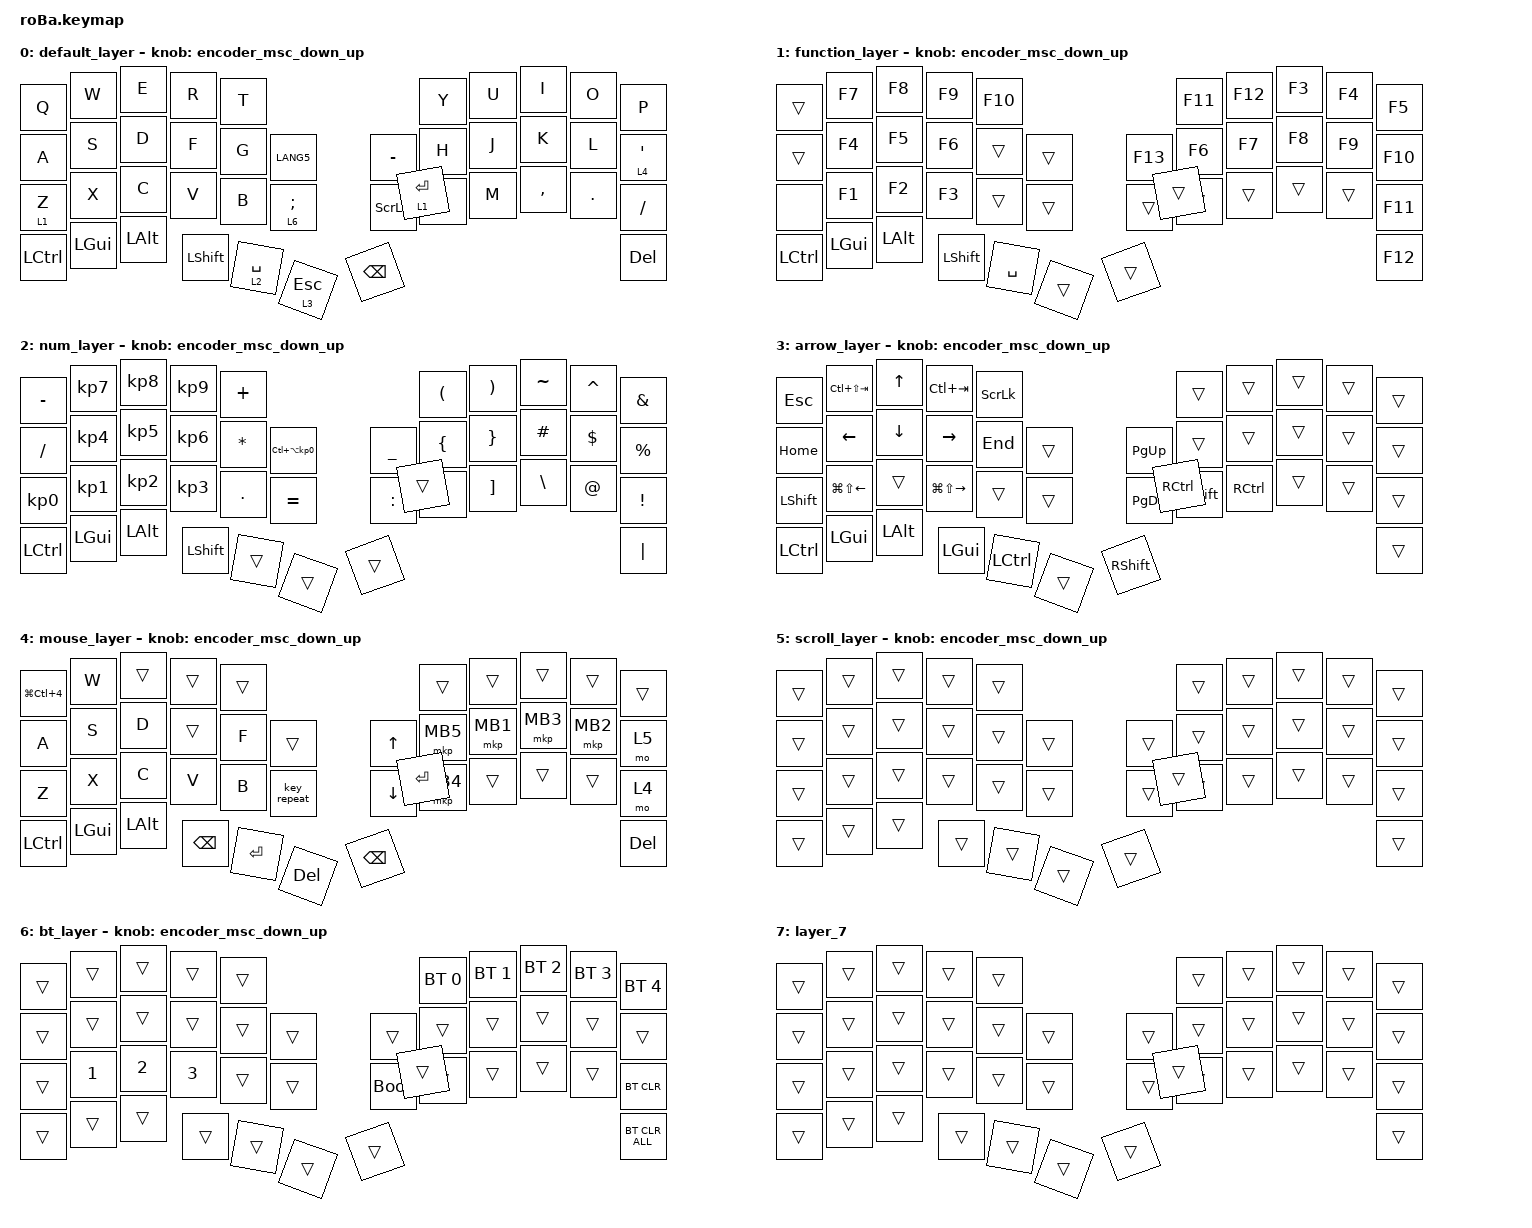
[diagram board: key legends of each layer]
#define ZMK_POINTING_DEFAULT_SCRL_VAL 80

#include <input/processors.dtsi>
#include <behaviors.dtsi>
#include <dt-bindings/zmk/bt.h>
#include <dt-bindings/zmk/keys.h>
#include <dt-bindings/zmk/pointing.h>

#define FUNCTION 1
#define NUM 2
#define ARROW 3
#define MOUSE 4
#define SCROLL 5
#define BT 6

&mt {
    flavor = "balanced";
    quick-tap-ms = <0>;
};

/ {
    combos {
        compatible = "zmk,combos";

        tab {
            bindings = <&kp TAB>;
            key-positions = <11 12>;
        };

        shift_tab {
            bindings = <&kp LS(TAB)>;
            key-positions = <12 13>;
        };

        double_quotation {
            bindings = <&kp DOUBLE_QUOTES>;
            key-positions = <20 21>;
        };

        eq {
            bindings = <&kp EQUAL>;
            key-positions = <24 25>;
        };

        ss {
            bindings = <&kp LS(LG(NUMBER_4))>;
            key-positions = <0 1>;
        };

        ss2 {
            bindings = <&screenshot_win>;
            key-positions = <22 23>;
        };

        mac {
            bindings = <&kp LC(SPACE)>;
            key-positions = <3 2>;
        };

        capslock {
            bindings = <&kp CAPSLOCK>;
            key-positions = <1 2 13>;
        };
    };

    macros {
        to_layer_0: to_layer_0 {
            compatible = "zmk,behavior-macro-one-param";
            #binding-cells = <1>;
            bindings = <&to 0 &macro_param_1to1 &kp MACRO_PLACEHOLDER>;
            label = "TO_LAYER_0";
        };

        screenshot_win: screenshot_win {
            compatible = "zmk,behavior-macro";
            #binding-cells = <0>;
            label = "SCREENSHOT_WIN";
            wait-ms = <30>;
            tap-ms = <30>;
            bindings =
                <&macro_press>,
                <&kp LGUI>,
                <&macro_press>,
                <&kp LSHIFT>,
                <&macro_tap>,
                <&kp S>,
                <&macro_release>,
                <&kp LSHIFT>,
                <&macro_release>,
                <&kp LGUI>;
        };
    };

    behaviors {
        lt_to_layer_0: lt_to_layer_0 {
            compatible = "zmk,behavior-hold-tap";
            label = "LAYER_TAP_TO_0";
            bindings = <&mo>, <&to_layer_0>;

            #binding-cells = <2>;
            tapping-term-ms = <200>;
        };

        encoder_msc_down_up: encoder_msc_down_up {
            compatible = "zmk,behavior-sensor-rotate";
            label = "ENCODER_MSC_DOWN_UP";
            #sensor-binding-cells = <0>;
            bindings = <&msc SCRL_DOWN>, <&msc SCRL_UP>;

            tap-ms = <20>;
        };
    };

    keymap {
        compatible = "zmk,keymap";

        default_layer {
            bindings = <
&kp Q      &kp W         &kp E         &kp R           &kp T                                                        &kp Y        &kp U  &kp I      &kp O    &kp P
&kp A      &kp S         &kp D         &kp F           &kp G        &kp LANG5                       &kp MINUS       &kp H        &kp J  &kp K      &kp L    &lt 4 SINGLE_QUOTE
&lt 1 Z    &kp X         &kp C         &kp V           &kp B        &lt_to_layer_0 6 SEMICOLON      &kp SCROLLLOCK  &kp N        &kp M  &kp COMMA  &kp DOT  &kp SLASH
&kp LCTRL  &kp LEFT_GUI  &kp LEFT_ALT  &kp LEFT_SHIFT  &lt 2 SPACE  &lt_to_layer_0 3 ESC            &kp BACKSPACE   &lt 1 ENTER                             &kp DELETE
            >;

            sensor-bindings = <&encoder_msc_down_up>;
        };

        function_layer {
            bindings = <
&trans            &kp F7        &kp F8        &kp F9          &kp F10                         &kp F11  &kp F12  &kp F3  &kp F4  &kp F5
&trans            &kp F4        &kp F5        &kp F6          &trans     &trans      &kp F13  &kp F6   &kp F7   &kp F8  &kp F9  &kp F10
&none             &kp F1        &kp F2        &kp F3          &trans     &trans      &trans   &trans   &trans   &trans  &trans  &kp F11
&kp LEFT_CONTROL  &kp LEFT_GUI  &kp LEFT_ALT  &kp LEFT_SHIFT  &kp SPACE  &trans      &trans   &trans                            &kp F12
            >;

            sensor-bindings = <&encoder_msc_down_up>;
        };

        num_layer {
            bindings = <
&kp MINUS         &kp KP_NUMBER_7  &kp KP_NUMBER_8  &kp KP_NUMBER_9  &kp PLUS                                                   &kp LEFT_PARENTHESIS  &kp RIGHT_PARENTHESIS  &kp TILDE      &kp CARET    &kp AMPERSAND
&kp SLASH         &kp KP_NUMBER_4  &kp KP_NUMBER_5  &kp KP_NUMBER_6  &kp ASTERISK  &kp LC(LA(KP_NUMBER_0))      &kp UNDERSCORE  &kp LEFT_BRACE        &kp RIGHT_BRACE        &kp HASH       &kp DOLLAR   &kp PERCENT
&kp KP_NUMBER_0   &kp KP_NUMBER_1  &kp KP_NUMBER_2  &kp KP_NUMBER_3  &kp PERIOD    &kp EQUAL                    &kp COLON       &kp LEFT_BRACKET      &kp RIGHT_BRACKET      &kp BACKSLASH  &kp AT_SIGN  &kp EXCLAMATION
&kp LEFT_CONTROL  &kp LEFT_GUI     &kp LEFT_ALT     &kp LEFT_SHIFT   &trans        &trans                       &trans          &trans                                                                   &kp PIPE
            >;

            sensor-bindings = <&encoder_msc_down_up>;
        };

        arrow_layer {
            bindings = <
&kp ESCAPE        &kp LC(LS(TAB))         &kp UP_ARROW    &kp LC(TAB)              &kp SCROLLLOCK                                 &trans             &trans             &trans  &trans  &trans
&kp HOME          &kp LEFT_ARROW          &kp DOWN_ARROW  &kp RIGHT_ARROW          &kp END           &trans      &kp PAGE_UP      &trans             &trans             &trans  &trans  &trans
&kp LEFT_SHIFT    &kp LG(LS(LEFT_ARROW))  &trans          &kp LG(LS(RIGHT_ARROW))  &trans            &trans      &kp PAGE_DOWN    &kp RIGHT_SHIFT    &kp RIGHT_CONTROL  &trans  &trans  &trans
&kp LEFT_CONTROL  &kp LEFT_GUI            &kp LEFT_ALT    &kp LEFT_GUI             &kp LEFT_CONTROL  &trans      &kp RIGHT_SHIFT  &kp RIGHT_CONTROL                                     &trans
            >;

            sensor-bindings = <&encoder_msc_down_up>;
        };

        mouse_layer {
            bindings = <
&kp LG(LC(NUMBER_4))  &kp W         &trans        &trans         &trans                                     &trans     &trans    &trans    &trans    &trans
&kp A                 &kp S         &kp D         &trans         &kp F      &trans           &kp UP         &mkp MB5   &mkp MB1  &mkp MB3  &mkp MB2  &mo 5
&kp Z                 &kp X         &kp C         &kp V          &kp B      &key_repeat      &kp DOWN       &mkp MB4   &trans    &trans    &trans    &mo 4
&kp LEFT_CONTROL      &kp LEFT_GUI  &kp LEFT_ALT  &kp BACKSPACE  &kp ENTER  &kp DELETE       &kp BACKSPACE  &kp ENTER                                &kp DELETE
            >;

            sensor-bindings = <&encoder_msc_down_up>;
        };

        scroll_layer {
            bindings = <
&trans  &trans  &trans  &trans  &trans                      &trans  &trans  &trans  &trans  &trans
&trans  &trans  &trans  &trans  &trans  &trans      &trans  &trans  &trans  &trans  &trans  &trans
&trans  &trans  &trans  &trans  &trans  &trans      &trans  &trans  &trans  &trans  &trans  &trans
&trans  &trans  &trans  &trans  &trans  &trans      &trans  &trans                          &trans
            >;

            sensor-bindings = <&encoder_msc_down_up>;
        };

        bt_layer {
            bindings = <
&trans  &trans        &trans        &trans        &trans                           &bt BT_SEL 0  &bt BT_SEL 1  &bt BT_SEL 2  &bt BT_SEL 3  &bt BT_SEL 4
&trans  &trans        &trans        &trans        &trans  &trans      &trans       &trans        &trans        &trans        &trans        &trans
&trans  &kp NUMBER_1  &kp NUMBER_2  &kp NUMBER_3  &trans  &trans      &bootloader  &trans        &trans        &trans        &trans        &bt BT_CLR
&trans  &trans        &trans        &trans        &trans  &trans      &trans       &trans                                                  &bt BT_CLR_ALL
            >;

            sensor-bindings = <&encoder_msc_down_up>;
        };

        layer_7 {
            bindings = <
&trans  &trans  &trans  &trans  &trans                      &trans  &trans  &trans  &trans  &trans
&trans  &trans  &trans  &trans  &trans  &trans      &trans  &trans  &trans  &trans  &trans  &trans
&trans  &trans  &trans  &trans  &trans  &trans      &trans  &trans  &trans  &trans  &trans  &trans
&trans  &trans  &trans  &trans  &trans  &trans      &trans  &trans                          &trans
            >;
        };
    };
};

&trackball_listener {
    input-processors = <&zip_xy_scaler 2 1>;

    scroll_mode {
        layers = <5>;
        input-processors = <&zip_xy_to_scroll_mapper>, <&zip_scroll_scaler 1 3>;
    };
};
